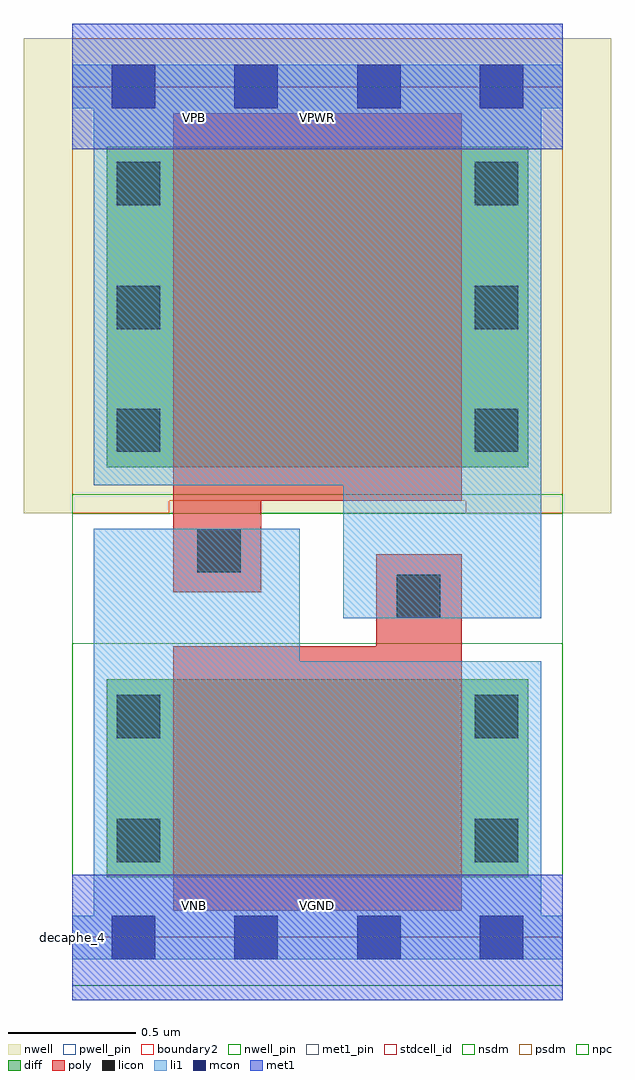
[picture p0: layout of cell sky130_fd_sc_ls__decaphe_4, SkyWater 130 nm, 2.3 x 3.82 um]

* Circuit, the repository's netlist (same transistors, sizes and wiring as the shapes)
* Copyright 2020 The SkyWater PDK Authors
*
* Licensed under the Apache License, Version 2.0 (the "License");
* you may not use this file except in compliance with the License.
* You may obtain a copy of the License at
*
*     https://www.apache.org/licenses/LICENSE-2.0
*
* Unless required by applicable law or agreed to in writing, software
* distributed under the License is distributed on an "AS IS" BASIS,
* WITHOUT WARRANTIES OR CONDITIONS OF ANY KIND, either express or implied.
* See the License for the specific language governing permissions and
* limitations under the License.
*
* SPDX-License-Identifier: Apache-2.0

.SUBCKT sky130_fd_sc_ls__decaphe_4 VGND VNB VPB VPWR
*.PININFO VGND:I VNB:I VPB:I VPWR:I
MI1 VGND VPWR VGND VNB sky130_fd_pr__nfet_01v8 m=1 w=0.775U l=1.13U mult=1 sa=0.265
+ sb=0.265 sd=0.28 area=0.063 perim=1.14
MI2 VPWR VGND VPWR VPB sky130_fd_pr__pfet_01v8 m=1 w=1.255U l=1.13U mult=1 sa=0.265
+ sb=0.265 sd=0.28 area=0.063 perim=1.14
.ENDS sky130_fd_sc_ls__decaphe_4

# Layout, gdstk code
import gdstk
lib = gdstk.Library(unit=1e-6, precision=1e-09)
def R(c, l, rs):  # rectangles x0, y0, x1, y1
    for r in rs: c.add(gdstk.rectangle(r[:2], r[2:], *l))
def A(c, l, x, y, w, h, nx, ny, dx, dy):  # array of equal rectangles
    R(c, l, [(x+i*dx, y+j*dy, x+i*dx+w, y+j*dy+h) for i in range(nx) for j in range(ny)])
def P(c, l, *ps):  # polygons
    for p in ps: c.add(gdstk.Polygon(p, *l))
nwell_pin = (64, 16)
nwell = (64, 20)
diff = (65, 20)
poly = (66, 20)
licon = (66, 44)
li1 = (67, 20)
mcon = (67, 44)
met1_pin = (68, 16)
met1 = (68, 20)
stdcell_id = (81, 4)
nsdm = (93, 44)
psdm = (94, 20)
npc = (95, 20)
pwell_pin = (122, 16)
boundary2 = (236, 0)

sky130_fd_sc_ls__decaphe = lib.new_cell('sky130_fd_sc_ls__decaphe_4')
R(sky130_fd_sc_ls__decaphe, nwell_pin, [(0,3.085,1.92,3.33)])
R(sky130_fd_sc_ls__decaphe, nwell, [(-0.19,1.66,2.11,3.52)])
R(sky130_fd_sc_ls__decaphe, diff, [(0.135,0.235,1.785,1.01), (0.135,1.84,1.785,3.095)])
P(sky130_fd_sc_ls__decaphe, poly, [(1.525,1.5),(1.19,1.5),(1.19,1.14),(0.395,1.14),(0.395,0.105),(1.525,0.105)],
  [(1.525,3.225),(0.395,3.225),(0.395,1.35),(0.74,1.35),(0.74,1.71),(1.525,1.71)])
R(sky130_fd_sc_ls__decaphe, licon, [(0.175,0.295,0.345,0.465), (1.575,0.295,1.745,0.465), (0.175,0.78,0.345,0.95), (1.575,0.78,1.745,0.95), (1.27,1.25,1.44,1.42), (0.49,1.43,0.66,1.6), (0.175,1.9,0.345,2.07), (1.575,1.9,1.745,2.07), (0.175,2.38,0.345,2.55), (1.575,2.38,1.745,2.55), (0.175,2.865,0.345,3.035), (1.575,2.865,1.745,3.035)])
P(sky130_fd_sc_ls__decaphe, li1, [(1.92,0.085),(1.835,0.085),(1.835,1.08),(0.89,1.08),(0.89,1.6),(0.085,1.6),(0.085,0.085),(0,0.085),(0,-0.085),(1.92,-0.085)],
  [(1.92,3.415),(0,3.415),(0,3.245),(0.085,3.245),(0.085,1.77),(1.06,1.77),(1.06,1.25),(1.835,1.25),(1.835,3.245),(1.92,3.245)])
A(sky130_fd_sc_ls__decaphe, mcon, 0.155, -0.085, 0.17, 0.17, 4, 2, 0.48, 3.33)
R(sky130_fd_sc_ls__decaphe, met1_pin, [(0,0,1.92,0.245), (0,3.085,1.92,3.33)])
R(sky130_fd_sc_ls__decaphe, met1, [(0,-0.245,1.92,0.245), (0,3.085,1.92,3.575)])
R(sky130_fd_sc_ls__decaphe, stdcell_id, [(0,0,1.92,3.33)])
R(sky130_fd_sc_ls__decaphe, nsdm, [(0,-0.19,1.92,1.66)])
P(sky130_fd_sc_ls__decaphe, psdm, [(1.92,3.52),(0,3.52),(0,1.66),(0.38,1.66),(0.38,1.71),(1.54,1.71),(1.54,1.66),(1.92,1.66)])
R(sky130_fd_sc_ls__decaphe, npc, [(0,1.15,1.92,1.735)])
R(sky130_fd_sc_ls__decaphe, pwell_pin, [(0,0,1.92,0.245)])
R(sky130_fd_sc_ls__decaphe, boundary2, [(0,0,1.92,3.33)])
sky130_fd_sc_ls__decaphe.add(gdstk.Label('VPWR', (0.96,3.208), layer=68, texttype=5))
sky130_fd_sc_ls__decaphe.add(gdstk.Label('VGND', (0.96,0.123), layer=68, texttype=5))
sky130_fd_sc_ls__decaphe.add(gdstk.Label('decaphe_4', (0,0), layer=83, texttype=44))
sky130_fd_sc_ls__decaphe.add(gdstk.Label('VPB', (0.48,3.208), layer=64, texttype=5))
sky130_fd_sc_ls__decaphe.add(gdstk.Label('VNB', (0.48,0.123), layer=64, texttype=59))

lib.write_gds('sky130_fd_sc_ls__decaphe_4.gds')
